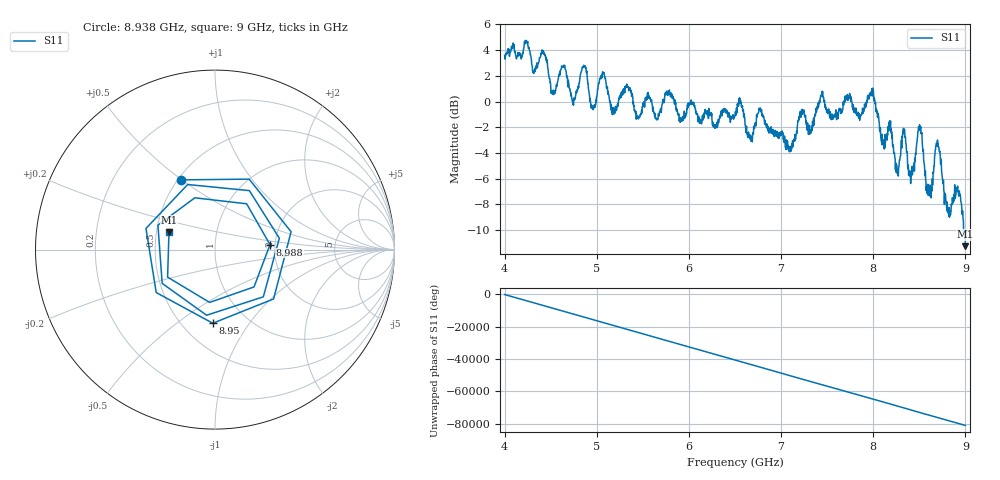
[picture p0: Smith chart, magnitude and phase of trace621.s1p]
! Created with skrf 1.8.0 (http://scikit-rf.org).
# Hz S RI R 50.0
!freq ReS11 ImS11
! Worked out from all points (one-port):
!   1601 points, 4 GHz to 9 GHz, reference 50 ohm
!   lowest |S11| = -11.2 dB at 9 GHz (marker M1), VSWR 1.76, Z = 29.1 + j6.1 ohm
!   |S11| at or under -10 dB: 8.980428 GHz to end of sweep
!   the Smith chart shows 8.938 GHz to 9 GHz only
!   S11 on the Smith chart (normalised r, x): 8.938 GHz: 0.52, +0.50; 8.95 GHz: 0.70, -0.69; 8.988 GHz: 1.88, +0.11; 9 GHz: 0.58, +0.12
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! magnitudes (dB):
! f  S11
! 4 GHz  3.6
! 4.419 GHz  4.0
! 4.528 GHz  0.9
! 4.625 GHz  2.7
! 4.744 GHz  0.1
! 4.859 GHz  2.8
! 4.959 GHz  -0.4
! 5.062 GHz  2.3
! 5.25 GHz  0.3
! 5.875 GHz  -0.8
! 6.5 GHz  -1.1
! 7.125 GHz  -3.1
! 7.438 GHz  0.4
! 7.75 GHz  0.5
! 7.988 GHz  1.0
! 8.1 GHz  -3.2
! 8.181 GHz  -1.9
! 8.266 GHz  -5.3
! 8.331 GHz  -2.5
! 8.375 GHz  -5.2
! 8.506 GHz  -2.2
! 8.597 GHz  -7.3
! 8.697 GHz  -3.0
! 8.812 GHz  -8.6
! 8.938 GHz  -7.3
! 8.95 GHz  -7.7
! 8.988 GHz  -10.2
! 9 GHz  -11.2
